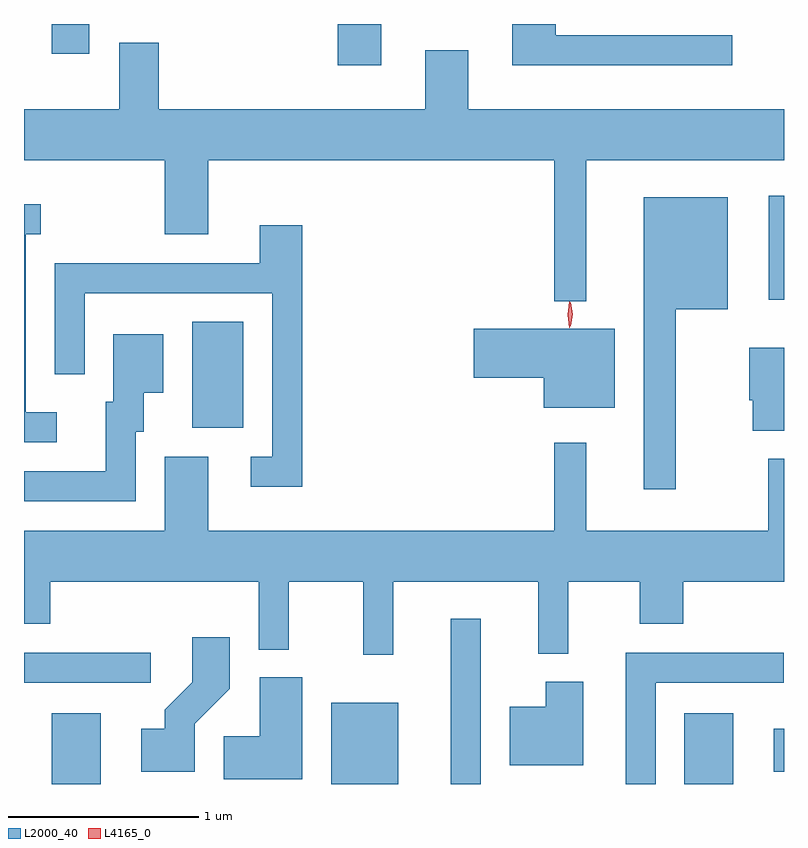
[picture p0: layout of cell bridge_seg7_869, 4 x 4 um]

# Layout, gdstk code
import gdstk
lib = gdstk.Library(unit=1e-6, precision=1e-09)
def R(c, l, rs):  # rectangles x0, y0, x1, y1
    for r in rs: c.add(gdstk.rectangle(r[:2], r[2:], *l))
def P(c, l, *ps):  # polygons
    for p in ps: c.add(gdstk.Polygon(p, *l))
L2000_40 = (2000, 40)
L4165_0 = (4165, 0)

bridge_seg7_869 = lib.new_cell('bridge_seg7_869')
R(bridge_seg7_869, L2000_40, [(202.716,1697.712,202.974,1698.084), (204.186,1697.712,204.539,1698.139), (204.816,1697.712,204.974,1698.583), (206.046,1697.712,206.304,1698.084), (206.516,1697.776,206.57,1698.004), (202.57,1698.246,203.238,1698.404), (203.456,1699.586,203.724,1700.144), (206.491,1700.261,206.57,1700.808), (204.221,1701.496,204.449,1701.712), (202.716,1701.556,202.914,1701.712)])
P(bridge_seg7_869, L2000_40, [(206.298,1701.654),(205.369,1701.654),(205.369,1701.712),(205.141,1701.712),(205.141,1701.496),(206.298,1701.496)],
  [(205.529,1700.996),(206.57,1700.996),(206.57,1701.264),(204.909,1701.264),(204.909,1701.574),(204.681,1701.574),(204.681,1701.264),(203.279,1701.264),(203.279,1701.614),(203.071,1701.614),(203.071,1701.264),(202.57,1701.264),(202.57,1700.996),(203.311,1700.996),(203.311,1700.606),(203.539,1700.606),(203.539,1700.996),(205.361,1700.996),(205.361,1700.253),(205.529,1700.253)],
  [(205.999,1700.211),(206.274,1700.211),(206.274,1700.799),(205.831,1700.799),(205.831,1699.263),(205.999,1699.263)],
  [(202.743,1699.669),(202.579,1699.669),(202.579,1700.606),(202.658,1700.606),(202.658,1700.764),(202.57,1700.764),(202.57,1699.511),(202.743,1699.511)],
  [(204.034,1700.654),(203.811,1700.654),(203.811,1700.454),(202.731,1700.454),(202.731,1699.868),(202.889,1699.868),(202.889,1700.296),(203.876,1700.296),(203.876,1699.434),(203.763,1699.434),(203.763,1699.276),(204.034,1699.276)],
  [(205.679,1700.109),(204.936,1700.109),(204.936,1699.851),(205.306,1699.851),(205.306,1699.691),(205.679,1699.691)],
  [(203.159,1699.566),(203.199,1699.566),(203.199,1699.771),(203.304,1699.771),(203.304,1700.079),(203.041,1700.079),(203.041,1699.724),(203.001,1699.724),(203.001,1699.359),(202.57,1699.359),(202.57,1699.201),(203.159,1699.201)],
  [(206.57,1700.009),(206.386,1700.009),(206.386,1699.731),(206.406,1699.731),(206.406,1699.571),(206.57,1699.571)],
  [(204.514,1698.776),(205.276,1698.776),(205.276,1698.398),(205.434,1698.398),(205.434,1698.776),(205.811,1698.776),(205.811,1698.556),(206.039,1698.556),(206.039,1698.776),(206.57,1698.776),(206.57,1699.423),(206.486,1699.423),(206.486,1699.044),(205.529,1699.044),(205.529,1699.508),(205.361,1699.508),(205.361,1699.044),(203.539,1699.044),(203.539,1699.434),(203.311,1699.434),(203.311,1699.044),(202.57,1699.044),(202.57,1698.556),(202.709,1698.556),(202.709,1698.776),(203.806,1698.776),(203.806,1698.418),(203.964,1698.418),(203.964,1698.776),(204.356,1698.776),(204.356,1698.393),(204.514,1698.393)],
  [(203.469,1698.029),(203.654,1698.214),(203.654,1698.484),(203.456,1698.484),(203.456,1698.247),(203.311,1698.102),(203.311,1698.004),(203.186,1698.004),(203.186,1697.776),(203.469,1697.776)],
  [(205.894,1698.246),(206.568,1698.246),(206.568,1698.404),(205.736,1698.404),(205.736,1697.712),(205.894,1697.712)],
  [(204.034,1698.274),(203.811,1698.274),(203.811,1697.964),(203.621,1697.964),(203.621,1697.736),(204.034,1697.736)],
  [(205.514,1698.249),(205.316,1698.249),(205.316,1698.119),(205.126,1698.119),(205.126,1697.811),(205.514,1697.811)])
P(bridge_seg7_869, L4165_0, [(205.447,1700.12),(205.447,1700.12),(205.437,1700.184),(205.446,1700.246),(205.447,1700.247),(205.447,1700.246),(205.457,1700.184),(205.448,1700.12)],
  [(205.441,1700.114),(205.432,1700.182),(205.441,1700.25),(205.442,1700.25),(205.442,1700.25),(205.452,1700.182),(205.442,1700.114),(205.442,1700.114)])

lib.write_gds('bridge_seg7_869.gds')
